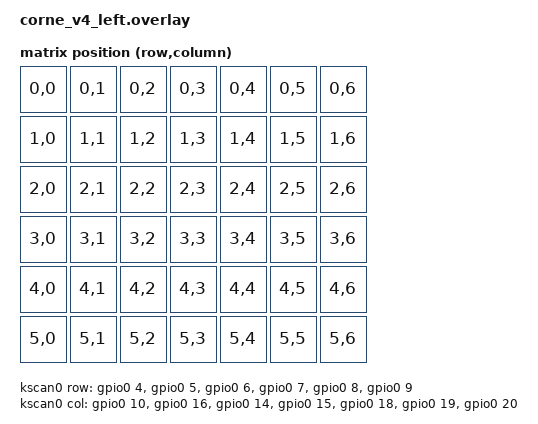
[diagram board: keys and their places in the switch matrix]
/*
 * Corne v4.0.0 shield for ZMK
 * Matrix: 6 rows × 7 cols
 */

#include <dt-bindings/zmk/matrix_transform.h>

/ {
    chosen {
        zephyr,display = &oled;
        zmk,kscan = &kscan0;
        zmk,physical-layout = &default_layout;
    };

    default_layout: keymap_transform_0 {
        compatible = "zmk,matrix-transform";
        columns = <7>;
        rows = <6>;
        // Простая сетка 6x7
        map = <
            RC(0,0) RC(0,1) RC(0,2) RC(0,3) RC(0,4) RC(0,5) RC(0,6)
            RC(1,0) RC(1,1) RC(1,2) RC(1,3) RC(1,4) RC(1,5) RC(1,6)
            RC(2,0) RC(2,1) RC(2,2) RC(2,3) RC(2,4) RC(2,5) RC(2,6)
            RC(3,0) RC(3,1) RC(3,2) RC(3,3) RC(3,4) RC(3,5) RC(3,6)
            RC(4,0) RC(4,1) RC(4,2) RC(4,3) RC(4,4) RC(4,5) RC(4,6)
            RC(5,0) RC(5,1) RC(5,2) RC(5,3) RC(5,4) RC(5,5) RC(5,6)
        >;
    };

    kscan0: kscan {
        compatible = "zmk,kscan-gpio-matrix";
        diode-direction = "col2row";
        wakeup-source;

        row-gpios
            = <&gpio0 4 (GPIO_ACTIVE_HIGH | GPIO_PULL_DOWN)>
            , <&gpio0 5 (GPIO_ACTIVE_HIGH | GPIO_PULL_DOWN)>
            , <&gpio0 6 (GPIO_ACTIVE_HIGH | GPIO_PULL_DOWN)>
            , <&gpio0 7 (GPIO_ACTIVE_HIGH | GPIO_PULL_DOWN)>
            , <&gpio0 8 (GPIO_ACTIVE_HIGH | GPIO_PULL_DOWN)>
            , <&gpio0 9 (GPIO_ACTIVE_HIGH | GPIO_PULL_DOWN)>
            ;

        col-gpios
            = <&gpio0 10 (GPIO_ACTIVE_HIGH | GPIO_PULL_UP)>
            , <&gpio0 16 (GPIO_ACTIVE_HIGH | GPIO_PULL_UP)>
            , <&gpio0 14 (GPIO_ACTIVE_HIGH | GPIO_PULL_UP)>
            , <&gpio0 15 (GPIO_ACTIVE_HIGH | GPIO_PULL_UP)>
            , <&gpio0 18 (GPIO_ACTIVE_HIGH | GPIO_PULL_UP)>
            , <&gpio0 19 (GPIO_ACTIVE_HIGH | GPIO_PULL_UP)>
            , <&gpio0 20 (GPIO_ACTIVE_HIGH | GPIO_PULL_UP)>
            ;
    };
};

&i2c0 {
    status = "okay";

    oled: ssd1306@3c {
        compatible = "solomon,ssd1306fb";
        reg = <0x3c>;
        width = <128>;
        height = <32>;
    };
};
